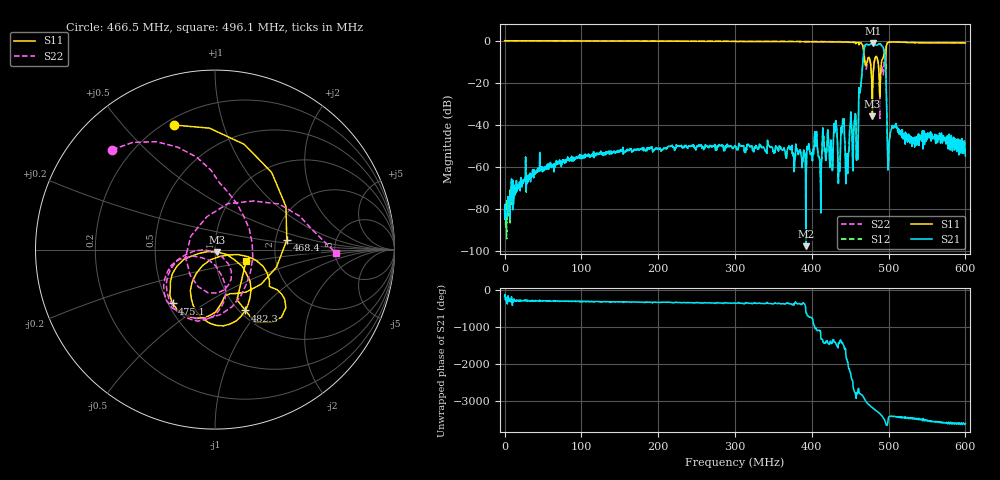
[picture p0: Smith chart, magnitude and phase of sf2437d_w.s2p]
!Agilent Technologies,E5071C,MY46104547,A.08.12
!Date: Wed May 17 14:15:41 2017
!Data & Calibration Information:
!Freq	S11:SOLT2(ON)	S21:SOLT2(ON)	S12:SOLT2(ON)	S22:SOLT2(ON)
# Hz S dB R 50
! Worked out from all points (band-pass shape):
!   1601 points, 9 kHz to 600 MHz, reference 50 ohm
!   highest |S21| = -1.12 dB at 479.3 MHz (marker M1); lowest = -97.5 dB at 392.3 MHz (marker M2)
!   |S21| within 3 dB of the highest: 468.1 MHz to 493.7 MHz (25.53 MHz wide, 5.31 % of centre)
!   lowest |S11| = -35.9 dB at 478.9 MHz (marker M3), VSWR 1.03, Z = 51 - j1.32 ohm
!   |S11| at or under -10 dB: 469.2 MHz to 472 MHz (2.828 MHz wide, 0.601 % of centre); 476.1 MHz to 481.3 MHz (5.218 MHz wide, 1.09 % of centre); 486.2 MHz to 490.9 MHz (4.631 MHz wide, 0.948 % of centre) (the widest 3 of 4)
!   |S22| runs from -36.9 to 0.2 dB; largest |S21 - S12| = 0.0015
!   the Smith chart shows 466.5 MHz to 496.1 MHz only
!   S11 on the Smith chart (normalised r, x): 466.5 MHz: 0.23, +0.70; 468.4 MHz: 2.31, +0.29; 475.1 MHz: 0.53, -0.37; 482.3 MHz: 1.06, -0.84; 496.1 MHz: 1.41, -0.18
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9000  0.05 1.1  -80.49 -151.2  -78.82 117.1  0.15 0.8
1.001325e8  -0.06 -25.7  -55.10 63.5  -55.02 63.0  -0.04 -29.1
2.00256e8  -0.16 -50.4  -51.29 37.5  -51.26 37.3  -0.11 -56.9
3.000045e8  -0.30 -74.4  -49.78 14.2  -49.82 14.2  -0.21 -83.5
3.922531e8  -0.44 -98.8  -97.49 140.3  -88.94 166.7  -0.30 -109.6
4.00128e8  -0.45 -101.3  -53.22 -31.4  -53.15 -31.0  -0.33 -112.5
4.308775e8  -0.61 -115.1  -38.89 31.0  -38.86 31.1  -0.48 -125.9
4.361275e8  -0.57 -118.4  -62.03 27.1  -61.99 25.5  -0.42 -129.8
4.402524e8  -0.68 -121.6  -37.17 0.4  -37.14 0.5  -0.50 -133.0
4.458773e8  -0.60 -127.6  -53.52 -70.6  -53.56 -70.1  -0.46 -138.2
4.605021e8  -0.82 -163.8  -45.83 -152.9  -45.81 -152.8  -0.71 -168.8
4.66502e8  -2.72 108.3  -9.70 23.5  -9.70 23.4  -1.95 135.8
4.68377e8  -7.88 7.5  -3.68 -47.5  -3.69 -47.5  -7.06 93.0
4.751269e8  -8.35 -128.2  -1.84 137.3  -1.84 137.3  -8.15 -133.8
4.788768e8  -35.86 -53.3  -1.13 69.8  -1.13 69.8  -23.39 -119.9
4.792518e8  -23.01 -22.5  -1.12 62.4  -1.12 62.4  -20.88 -87.3
4.822518e8  -8.42 -63.4  -1.73 12.4  -1.73 12.4  -8.51 -91.9
4.882517e8  -24.08 -114.4  -1.44 -84.1  -1.45 -84.1  -24.52 -179.6
4.961266e8  -14.69 -20.0  -11.41 13.0  -11.40 13.0  -3.45 -1.4
5.002515e8  -0.67 -51.6  -52.15 179.3  -52.18 178.9  -0.70 -54.6
5.227512e8  -0.77 -92.5  -45.47 168.8  -45.48 168.9  -0.73 -102.3
6e8  -1.00 -117.2  -54.74 -3.8  -54.75 -2.8  -0.97 -129.3
